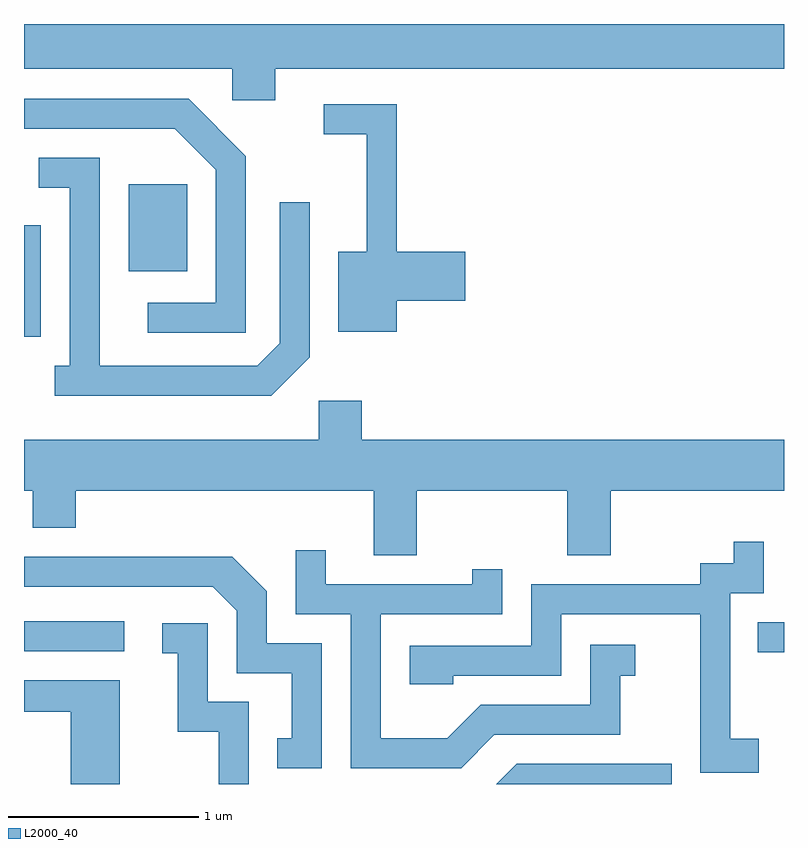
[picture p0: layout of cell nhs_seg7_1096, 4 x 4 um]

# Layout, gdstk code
import gdstk
lib = gdstk.Library(unit=1e-6, precision=1e-09)
def R(c, l, rs):  # rectangles x0, y0, x1, y1
    for r in rs: c.add(gdstk.rectangle(r[:2], r[2:], *l))
def P(c, l, *ps):  # polygons
    for p in ps: c.add(gdstk.Polygon(p, *l))
L2000_40 = (2000, 40)

nhs_seg7_1096 = lib.new_cell('nhs_seg7_1096')
R(nhs_seg7_1096, L2000_40, [(221.473,1788.946,221.611,1789.104), (217.611,1788.951,218.138,1789.109), (217.611,1790.606,217.699,1791.193), (218.161,1790.951,218.469,1791.409)])
P(nhs_seg7_1096, L2000_40, [(218.934,1792.016),(221.611,1792.016),(221.611,1792.252),(217.611,1792.252),(217.611,1792.016),(218.706,1792.016),(218.706,1791.851),(218.934,1791.851)],
  [(218.779,1791.557),(218.477,1791.859),(217.611,1791.859),(217.611,1791.701),(218.404,1791.701),(218.621,1791.484),(218.621,1790.784),(218.263,1790.784),(218.263,1790.626),(218.779,1790.626)],
  [(219.574,1790.796),(219.934,1790.796),(219.934,1791.054),(219.574,1791.054),(219.574,1791.829),(219.188,1791.829),(219.188,1791.671),(219.416,1791.671),(219.416,1791.054),(219.266,1791.054),(219.266,1790.631),(219.574,1790.631)],
  [(219.114,1790.499),(219.114,1791.313),(218.956,1791.313),(218.956,1790.572),(218.839,1790.454),(218.009,1790.454),(218.009,1791.549),(217.688,1791.549),(217.688,1791.391),(217.851,1791.391),(217.851,1790.454),(217.773,1790.454),(217.773,1790.296),(218.912,1790.296)],
  [(219.679,1789.796),(220.471,1789.796),(220.471,1789.456),(220.699,1789.456),(220.699,1789.796),(221.611,1789.796),(221.611,1790.064),(219.389,1790.064),(219.389,1790.269),(219.161,1790.269),(219.161,1790.064),(217.611,1790.064),(217.611,1789.796),(217.656,1789.796),(217.656,1789.601),(217.884,1789.601),(217.884,1789.796),(219.451,1789.796),(219.451,1789.456),(219.679,1789.456)],
  [(221.479,1788.489),(221.329,1788.489),(221.329,1789.256),(221.504,1789.256),(221.504,1789.528),(221.346,1789.528),(221.346,1789.414),(221.171,1789.414),(221.171,1789.304),(220.281,1789.304),(220.281,1788.979),(219.641,1788.979),(219.641,1788.776),(219.869,1788.776),(219.869,1788.821),(220.439,1788.821),(220.439,1789.146),(221.171,1789.146),(221.171,1788.311),(221.479,1788.311)],
  [(220.087,1788.511),(220.749,1788.511),(220.749,1788.821),(220.828,1788.821),(220.828,1788.984),(220.591,1788.984),(220.591,1788.669),(220.014,1788.669),(219.839,1788.494),(219.489,1788.494),(219.489,1789.146),(220.129,1789.146),(220.129,1789.383),(219.971,1789.383),(219.971,1789.304),(219.199,1789.304),(219.199,1789.483),(219.041,1789.483),(219.041,1789.146),(219.331,1789.146),(219.331,1788.336),(219.912,1788.336)],
  [(219.179,1788.994),(218.889,1788.994),(218.889,1789.267),(218.707,1789.449),(217.611,1789.449),(217.611,1789.291),(218.604,1789.291),(218.731,1789.164),(218.731,1788.836),(219.021,1788.836),(219.021,1788.494),(218.943,1788.494),(218.943,1788.336),(219.179,1788.336)],
  [(218.794,1788.684),(218.579,1788.684),(218.579,1789.099),(218.338,1789.099),(218.338,1788.941),(218.421,1788.941),(218.421,1788.526),(218.636,1788.526),(218.636,1788.252),(218.794,1788.252)],
  [(218.114,1788.799),(217.611,1788.799),(217.611,1788.631),(217.856,1788.631),(217.856,1788.252),(218.114,1788.252)],
  [(221.019,1788.359),(220.204,1788.359),(220.097,1788.252),(221.019,1788.252)])

lib.write_gds('nhs_seg7_1096.gds')
